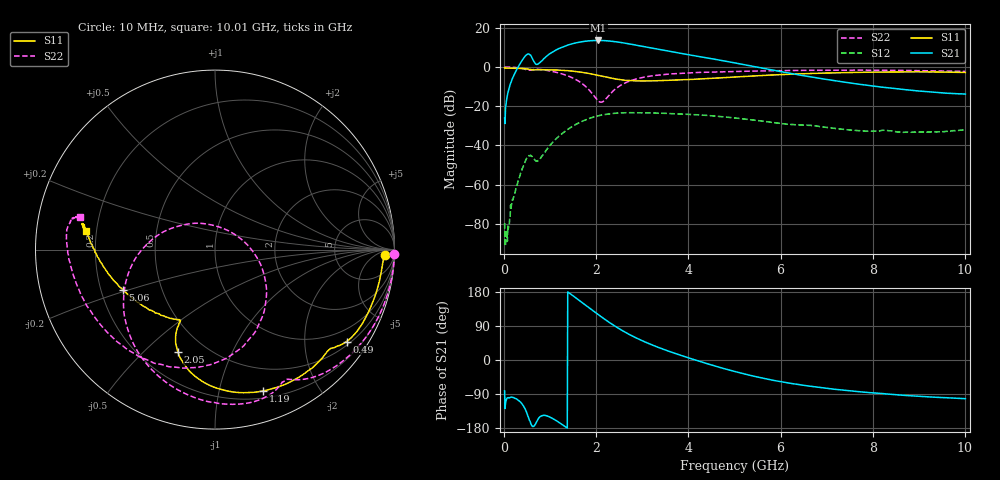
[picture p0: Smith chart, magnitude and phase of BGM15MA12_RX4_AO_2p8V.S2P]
!Agilent Technologies,E5071C,MY46317100,A.11.08
!Date: Fri Dec 19 16:34:40 2014
!Data & Calibration Information:
!Freq	S11:SOLT2(ON)	S21:SOLT2(ON)	S12:SOLT2(ON)	S22:SOLT2(ON)
!PortZ  Port1:50+j0  Port2:50+j0
!Above PortZ is port z conversion or system Z0 setting when saving the data.
!When reading, reference impedance value at option line is always used.
# Hz S RI R 50
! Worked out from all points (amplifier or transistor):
!   1001 points, 10 MHz to 10.01 GHz, reference 50 ohm
!   highest |S21| = 13.5 dB at 2.04 GHz (marker M1)
!   |S21| within 3 dB of that: 1.304 GHz to 2.995 GHz (1.692 GHz wide, 78.7 % of centre)
!   unconditionally stable (mu >= 1): start of sweep to end of sweep
!   at 1.67 GHz: K = 1.48, MAG = 16.3 dB, |S12| = -27.9 dB
!   at 5.01 GHz: K = 2.49, MAG = 7.2 dB, |S12| = -26.0 dB
!   at 10.01 GHz: K = 18.78, MAG = -6.6 dB, |S12| = -32.0 dB
!   lowest NFmin = 0.99 dB at 1.45 GHz
!   S11 on the Smith chart (normalised r, x): 10 MHz: 27, -17; 490 MHz: 0.60, -3.07; 1.19 GHz: 0.27, -1.36; 2.05 GHz: 0.35, -0.64; 5.06 GHz: 0.29, -0.19; 10.01 GHz: 0.16, +0.07
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1e7  0.9473 -0.0307  0.00739 -0.0488  2.44e-05 -0.000103  0.9994 -0.0226
3.1e8  0.8572 -0.3441  -0.2875 -0.9815  -0.0013 0.00014  0.7359 -0.6014
4.9e8  0.7328 -0.5122  -1.557 -1.353  -0.00411 0.00237  0.4366 -0.7247
5.6e8  0.6716 -0.5431  -1.913 -0.668  -0.00336 0.0042  0.3788 -0.7373
6.4e8  0.6289 -0.5641  -1.412 -0.1245  -0.00185 0.00431  0.3069 -0.8072
8.2e8  0.537 -0.6628  -1.226 -0.7768  -0.0044 0.00315  -0.00575 -0.8512
1e9  0.4114 -0.741  -1.93 -1.066  -0.00882 0.00526  -0.2676 -0.7428
1.19e9  0.2664 -0.788  -2.85 -0.7783  -0.0134 0.0109  -0.4445 -0.544
1.46e9  0.0641 -0.7867  -3.82 0.4998  -0.0164 0.0246  -0.5026 -0.2094
1.68e9  -0.0771 -0.7303  -3.905 2.012  -0.0125 0.0387  -0.3864 0.0224
2.04e9  -0.2048 -0.5768  -2.375 4.104  0.00882 0.0561  -0.0165 0.1369
2.05e9  -0.2061 -0.5723  -2.311 4.141  0.00963 0.0565  -0.0056 0.1343
2.32e9  -0.2183 -0.4722  -0.4797 4.514  0.031 0.0569  0.2163 -0.018
2.68e9  -0.1975 -0.4078  1.364 3.694  0.0523 0.0441  0.2802 -0.3116
2.97e9  -0.1956 -0.3923  2.083 2.688  0.0611 0.0303  0.1975 -0.4908
3.35e9  -0.2252 -0.3878  2.35 1.531  0.0651 0.0137  0.0223 -0.6226
4.14e9  -0.3454 -0.3428  1.928 0.00923  0.0598 -0.0128  -0.3584 -0.6231
5.01e9  -0.5044 -0.2335  1.092 -0.6428  0.0413 -0.0282  -0.6607 -0.3892
5.06e9  -0.5124 -0.2255  1.046 -0.6571  0.0403 -0.0286  -0.673 -0.3739
6.68e9  -0.6827 0.0207  0.1912 -0.5199  0.0195 -0.0255  -0.8239 0.016
8.35e9  -0.73 0.1385  -0.000187 -0.2938  0.0154 -0.0181  -0.8062 0.1529
1.001e10  -0.7186 0.1041  -0.0428 -0.1999  0.0205 -0.0145  -0.7507 0.1827
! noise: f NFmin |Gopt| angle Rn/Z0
1.45e+09  0.99  0.4113  66.53  0.2142
1.5e+09  0.9994  0.4067  69.34  0.2071
1.7e+09  1.028  0.4066  77.37  0.2078
1.85e+09  1.065  0.3976  80.25  0.2089
1.9e+09  1.085  0.3944  82.04  0.2072
2.1e+09  1.097  0.4153  89.09  0.1854
2.3e+09  1.152  0.4097  96.9  0.1705
2.4e+09  1.178  0.4146  97.67  0.1696
2.6e+09  1.228  0.4344  104.7  0.1676
2.75e+09  1.234  0.4548  109.4  0.1576
